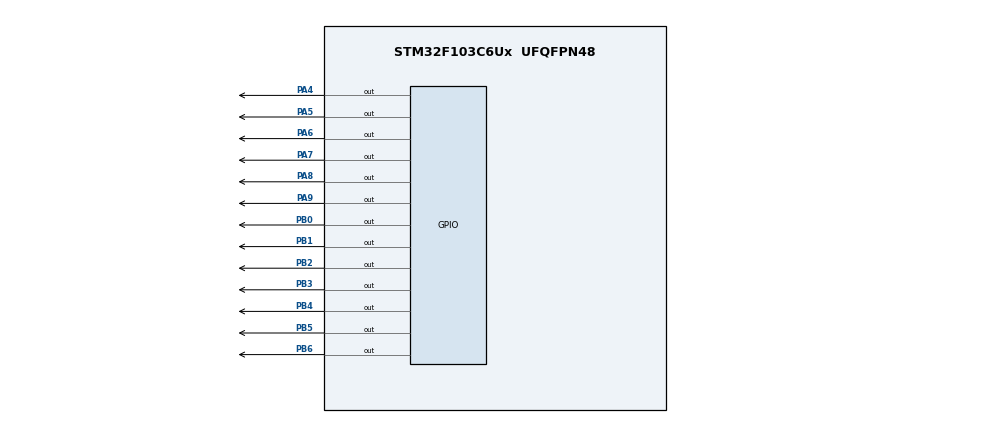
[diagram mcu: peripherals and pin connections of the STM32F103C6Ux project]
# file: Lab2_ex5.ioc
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Mcu.Family=STM32F1
Mcu.Name=STM32F103C6Ux
Mcu.Package=UFQFPN48
NVIC.PriorityGroup=NVIC_PRIORITYGROUP_4
NVIC.TIM2_IRQn=true\:0\:0\:false\:false\:true\:true\:true
PA4.Signal=GPIO_Output
PA5.Signal=GPIO_Output
PA6.Signal=GPIO_Output
PA7.Signal=GPIO_Output
PA8.Signal=GPIO_Output
PA9.Signal=GPIO_Output
PB0.Signal=GPIO_Output
PB1.Signal=GPIO_Output
PB2.Signal=GPIO_Output
PB3.Signal=GPIO_Output
PB4.Signal=GPIO_Output
PB5.Signal=GPIO_Output
PB6.Signal=GPIO_Output
ProjectManager.HeapSize=0x200
ProjectManager.StackSize=0x400
ProjectManager.TargetToolchain=STM32CubeIDE
RCC.APB1Freq_Value=8000000
RCC.APB2Freq_Value=8000000
TIM2.Period=249
TIM2.Prescaler=7999
VP_SYS_VS_ND.Mode=No_Debug
VP_TIM2_VS_ClockSourceINT.Mode=Internal
board=custom

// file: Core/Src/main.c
/* USER CODE BEGIN Header */
/**
  ******************************************************************************
  * @file           : main.c
  * @brief          : Main program body
  ******************************************************************************
  * @attention
  *
  * <h2><center>&copy; Copyright (c) 2025 STMicroelectronics.
  * All rights reserved.</center></h2>
  *
  * This software component is licensed by ST under BSD 3-Clause license,
  * the "License"; You may not use this file except in compliance with the
  * License. You may obtain a copy of the License at:
  *                        opensource.org/licenses/BSD-3-Clause
  *
  ******************************************************************************
  */
/* USER CODE END Header */
#include "main.h"

TIM_HandleTypeDef htim2;

void SystemClock_Config(void);
static void MX_GPIO_Init(void);
static void MX_TIM2_Init(void);

/* USER CODE BEGIN 0 */
void display7SEG(uint8_t num){
	if (num > 9) return;
	switch (num)
	{
	case 0:
		HAL_GPIO_WritePin(GPIOB, GPIO_PIN_0, GPIO_PIN_RESET);
		HAL_GPIO_WritePin(GPIOB, GPIO_PIN_1, GPIO_PIN_RESET);
		HAL_GPIO_WritePin(GPIOB, GPIO_PIN_2, GPIO_PIN_RESET);
		HAL_GPIO_WritePin(GPIOB, GPIO_PIN_3, GPIO_PIN_RESET);
		HAL_GPIO_WritePin(GPIOB, GPIO_PIN_4, GPIO_PIN_RESET);
		HAL_GPIO_WritePin(GPIOB, GPIO_PIN_5, GPIO_PIN_RESET);
		HAL_GPIO_WritePin(GPIOB, GPIO_PIN_6, GPIO_PIN_SET);
		break;
	case 1:
		HAL_GPIO_WritePin(GPIOB, GPIO_PIN_0, GPIO_PIN_SET);
		HAL_GPIO_WritePin(GPIOB, GPIO_PIN_1, GPIO_PIN_RESET);
		HAL_GPIO_WritePin(GPIOB, GPIO_PIN_2, GPIO_PIN_RESET);
		HAL_GPIO_WritePin(GPIOB, GPIO_PIN_3, GPIO_PIN_SET);
		HAL_GPIO_WritePin(GPIOB, GPIO_PIN_4, GPIO_PIN_SET);
		HAL_GPIO_WritePin(GPIOB, GPIO_PIN_5, GPIO_PIN_SET);
		HAL_GPIO_WritePin(GPIOB, GPIO_PIN_6, GPIO_PIN_SET);
		break;
	case 2:
		HAL_GPIO_WritePin(GPIOB, GPIO_PIN_0, GPIO_PIN_RESET);
		HAL_GPIO_WritePin(GPIOB, GPIO_PIN_1, GPIO_PIN_RESET);
		HAL_GPIO_WritePin(GPIOB, GPIO_PIN_2, GPIO_PIN_SET);
		HAL_GPIO_WritePin(GPIOB, GPIO_PIN_3, GPIO_PIN_RESET);
		HAL_GPIO_WritePin(GPIOB, GPIO_PIN_4, GPIO_PIN_RESET);
		HAL_GPIO_WritePin(GPIOB, GPIO_PIN_5, GPIO_PIN_SET);
		HAL_GPIO_WritePin(GPIOB, GPIO_PIN_6, GPIO_PIN_RESET);
		break;
	case 3:
		HAL_GPIO_WritePin(GPIOB, GPIO_PIN_0, GPIO_PIN_RESET);
		HAL_GPIO_WritePin(GPIOB, GPIO_PIN_1, GPIO_PIN_RESET);
		HAL_GPIO_WritePin(GPIOB, GPIO_PIN_2, GPIO_PIN_RESET);
		HAL_GPIO_WritePin(GPIOB, GPIO_PIN_3, GPIO_PIN_RESET);
		HAL_GPIO_WritePin(GPIOB, GPIO_PIN_4, GPIO_PIN_SET);
		HAL_GPIO_WritePin(GPIOB, GPIO_PIN_5, GPIO_PIN_SET);
		HAL_GPIO_WritePin(GPIOB, GPIO_PIN_6, GPIO_PIN_RESET);
		break;
	case 4:
        HAL_GPIO_WritePin(GPIOB, GPIO_PIN_0, GPIO_PIN_SET);
        HAL_GPIO_WritePin(GPIOB, GPIO_PIN_1, GPIO_PIN_RESET);
        HAL_GPIO_WritePin(GPIOB, GPIO_PIN_2, GPIO_PIN_RESET);
        HAL_GPIO_WritePin(GPIOB, GPIO_PIN_3, GPIO_PIN_SET);
        HAL_GPIO_WritePin(GPIOB, GPIO_PIN_4, GPIO_PIN_SET);
        HAL_GPIO_WritePin(GPIOB, GPIO_PIN_5, GPIO_PIN_RESET);
        HAL_GPIO_WritePin(GPIOB, GPIO_PIN_6, GPIO_PIN_RESET);
        break;
	case 5:
		HAL_GPIO_WritePin(GPIOB, GPIO_PIN_0, GPIO_PIN_RESET);
		HAL_GPIO_WritePin(GPIOB, GPIO_PIN_1, GPIO_PIN_SET);
		HAL_GPIO_WritePin(GPIOB, GPIO_PIN_2, GPIO_PIN_RESET);
		HAL_GPIO_WritePin(GPIOB, GPIO_PIN_3, GPIO_PIN_RESET);
		HAL_GPIO_WritePin(GPIOB, GPIO_PIN_4, GPIO_PIN_SET);
		HAL_GPIO_WritePin(GPIOB, GPIO_PIN_5, GPIO_PIN_RESET);
		HAL_GPIO_WritePin(GPIOB, GPIO_PIN_6, GPIO_PIN_RESET);
		break;
	case 6:
		HAL_GPIO_WritePin(GPIOB, GPIO_PIN_0, GPIO_PIN_RESET);
		HAL_GPIO_WritePin(GPIOB, GPIO_PIN_1, GPIO_PIN_SET);
		HAL_GPIO_WritePin(GPIOB, GPIO_PIN_2, GPIO_PIN_RESET);
		HAL_GPIO_WritePin(GPIOB, GPIO_PIN_3, GPIO_PIN_RESET);
		HAL_GPIO_WritePin(GPIOB, GPIO_PIN_4, GPIO_PIN_RESET);
		HAL_GPIO_WritePin(GPIOB, GPIO_PIN_5, GPIO_PIN_RESET);
		HAL_GPIO_WritePin(GPIOB, GPIO_PIN_6, GPIO_PIN_RESET);
		break;
	case 7:
		HAL_GPIO_WritePin(GPIOB, GPIO_PIN_0, GPIO_PIN_RESET);
		HAL_GPIO_WritePin(GPIOB, GPIO_PIN_1, GPIO_PIN_RESET);
		HAL_GPIO_WritePin(GPIOB, GPIO_PIN_2, GPIO_PIN_RESET);
		HAL_GPIO_WritePin(GPIOB, GPIO_PIN_3, GPIO_PIN_SET);
		HAL_GPIO_WritePin(GPIOB, GPIO_PIN_4, GPIO_PIN_SET);
		HAL_GPIO_WritePin(GPIOB, GPIO_PIN_5, GPIO_PIN_SET);
		HAL_GPIO_WritePin(GPIOB, GPIO_PIN_6, GPIO_PIN_SET);
		break;
	case 8:
		HAL_GPIO_WritePin(GPIOB, GPIO_PIN_0, GPIO_PIN_RESET);
		HAL_GPIO_WritePin(GPIOB, GPIO_PIN_1, GPIO_PIN_RESET);
		HAL_GPIO_WritePin(GPIOB, GPIO_PIN_2, GPIO_PIN_RESET);
		HAL_GPIO_WritePin(GPIOB, GPIO_PIN_3, GPIO_PIN_RESET);
		HAL_GPIO_WritePin(GPIOB, GPIO_PIN_4, GPIO_PIN_RESET);
		HAL_GPIO_WritePin(GPIOB, GPIO_PIN_5, GPIO_PIN_RESET);
		HAL_GPIO_WritePin(GPIOB, GPIO_PIN_6, GPIO_PIN_RESET);
		break;
	case 9:
		HAL_GPIO_WritePin(GPIOB, GPIO_PIN_0, GPIO_PIN_RESET);
		HAL_GPIO_WritePin(GPIOB, GPIO_PIN_1, GPIO_PIN_RESET);
		HAL_GPIO_WritePin(GPIOB, GPIO_PIN_2, GPIO_PIN_RESET);
		HAL_GPIO_WritePin(GPIOB, GPIO_PIN_3, GPIO_PIN_RESET);
		HAL_GPIO_WritePin(GPIOB, GPIO_PIN_4, GPIO_PIN_SET);
		HAL_GPIO_WritePin(GPIOB, GPIO_PIN_5, GPIO_PIN_RESET);
		HAL_GPIO_WritePin(GPIOB, GPIO_PIN_6, GPIO_PIN_RESET);
		break;
	default:
		HAL_GPIO_WritePin(GPIOB, GPIO_PIN_0, GPIO_PIN_SET);
		HAL_GPIO_WritePin(GPIOB, GPIO_PIN_1, GPIO_PIN_SET);
		HAL_GPIO_WritePin(GPIOB, GPIO_PIN_2, GPIO_PIN_SET);
		HAL_GPIO_WritePin(GPIOB, GPIO_PIN_3, GPIO_PIN_SET);
		HAL_GPIO_WritePin(GPIOB, GPIO_PIN_4, GPIO_PIN_SET);
		HAL_GPIO_WritePin(GPIOB, GPIO_PIN_5, GPIO_PIN_SET);
		HAL_GPIO_WritePin(GPIOB, GPIO_PIN_6, GPIO_PIN_SET);
		break;
	}
}

const int MAX_LED = 4;
int index_led = 0;
int led_buffer[4];
uint8_t dot_counter = 0;
uint8_t led_counter = 0;

void update7SEG(int index) {
	HAL_GPIO_WritePin(GPIOA, GPIO_PIN_6|GPIO_PIN_7|GPIO_PIN_8|GPIO_PIN_9, GPIO_PIN_SET);

	display7SEG(led_buffer[index]);

	switch(index){
		case 0: HAL_GPIO_WritePin(GPIOA, GPIO_PIN_6, GPIO_PIN_RESET); break;
		case 1: HAL_GPIO_WritePin(GPIOA, GPIO_PIN_7, GPIO_PIN_RESET); break;
		case 2: HAL_GPIO_WritePin(GPIOA, GPIO_PIN_8, GPIO_PIN_RESET); break;
		case 3: HAL_GPIO_WritePin(GPIOA, GPIO_PIN_9, GPIO_PIN_RESET); break;

	}
}

void HAL_TIM_PeriodElapsedCallback(TIM_HandleTypeDef *htim) {
	if (htim->Instance == TIM2) {
		led_counter++;
		if (led_counter >= 2) {
			led_counter = 0;
			HAL_GPIO_TogglePin(GPIOA, GPIO_PIN_5);
		}
		update7SEG(index_led);
		index_led++;
		if (index_led >= MAX_LED) index_led = 0;
		dot_counter++;
		if (dot_counter >= 4) {
			dot_counter = 0;
			HAL_GPIO_TogglePin(GPIOA, GPIO_PIN_4);
		}
	}
}

void updateClockBuffer(int hour, int minute)
{
    led_buffer[0] = (hour / 10) % 10;
    led_buffer[1] = hour % 10;
    led_buffer[2] = (minute / 10) % 10;
    led_buffer[3] = minute % 10;
}
/* USER CODE END 0 */

int main(void)
{

  /* MCU Configuration--------------------------------------------------------*/

  /* Reset of all peripherals, Initializes the Flash interface and the Systick. */
  HAL_Init();

  /* Configure the system clock */
  SystemClock_Config();

  /* Initialize all configured peripherals */
  MX_GPIO_Init();
  MX_TIM2_Init();
  /* USER CODE BEGIN 2 */
  HAL_TIM_Base_Start_IT(&htim2);
  int hour = 20 , minute = 54 , second = 58;
  /* USER CODE END 2 */

  /* Infinite loop */
  /* USER CODE BEGIN WHILE */
  while (1)
  {
	  second++;
	  if (second >= 60) {
	  second = 0;
	  minute++;
	  }
	  if (minute >= 60){
	  minute = 0;
	  hour++;
	  }
	  if(hour >=24) {
	  hour = 0;
	  }
	  updateClockBuffer(hour,minute);

	  HAL_Delay(1000);
    /* USER CODE END WHILE */

  }
}

void SystemClock_Config(void)
{
  RCC_OscInitTypeDef RCC_OscInitStruct = {0};
  RCC_ClkInitTypeDef RCC_ClkInitStruct = {0};

  /** Initializes the RCC Oscillators according to the specified parameters
  * in the RCC_OscInitTypeDef structure.
  */
  RCC_OscInitStruct.OscillatorType = RCC_OSCILLATORTYPE_HSI;
  RCC_OscInitStruct.HSIState = RCC_HSI_ON;
  RCC_OscInitStruct.HSICalibrationValue = RCC_HSICALIBRATION_DEFAULT;
  RCC_OscInitStruct.PLL.PLLState = RCC_PLL_NONE;
  if (HAL_RCC_OscConfig(&RCC_OscInitStruct) != HAL_OK)
  {
    Error_Handler();
  }
  /** Initializes the CPU, AHB and APB buses clocks
  */
  RCC_ClkInitStruct.ClockType = RCC_CLOCKTYPE_HCLK|RCC_CLOCKTYPE_SYSCLK
                              |RCC_CLOCKTYPE_PCLK1|RCC_CLOCKTYPE_PCLK2;
  RCC_ClkInitStruct.SYSCLKSource = RCC_SYSCLKSOURCE_HSI;
  RCC_ClkInitStruct.AHBCLKDivider = RCC_SYSCLK_DIV1;
  RCC_ClkInitStruct.APB1CLKDivider = RCC_HCLK_DIV1;
  RCC_ClkInitStruct.APB2CLKDivider = RCC_HCLK_DIV1;

  if (HAL_RCC_ClockConfig(&RCC_ClkInitStruct, FLASH_LATENCY_0) != HAL_OK)
  {
    Error_Handler();
  }
}

static void MX_TIM2_Init(void)
{

  TIM_ClockConfigTypeDef sClockSourceConfig = {0};
  TIM_MasterConfigTypeDef sMasterConfig = {0};

  htim2.Instance = TIM2;
  htim2.Init.Prescaler = 7999;
  htim2.Init.CounterMode = TIM_COUNTERMODE_UP;
  htim2.Init.Period = 249;
  htim2.Init.ClockDivision = TIM_CLOCKDIVISION_DIV1;
  htim2.Init.AutoReloadPreload = TIM_AUTORELOAD_PRELOAD_DISABLE;
  if (HAL_TIM_Base_Init(&htim2) != HAL_OK)
  {
    Error_Handler();
  }
  sClockSourceConfig.ClockSource = TIM_CLOCKSOURCE_INTERNAL;
  if (HAL_TIM_ConfigClockSource(&htim2, &sClockSourceConfig) != HAL_OK)
  {
    Error_Handler();
  }
  sMasterConfig.MasterOutputTrigger = TIM_TRGO_RESET;
  sMasterConfig.MasterSlaveMode = TIM_MASTERSLAVEMODE_DISABLE;
  if (HAL_TIMEx_MasterConfigSynchronization(&htim2, &sMasterConfig) != HAL_OK)
  {
    Error_Handler();
  }

}

static void MX_GPIO_Init(void)
{
  GPIO_InitTypeDef GPIO_InitStruct = {0};

  /* GPIO Ports Clock Enable */
  __HAL_RCC_GPIOA_CLK_ENABLE();
  __HAL_RCC_GPIOB_CLK_ENABLE();

  /*Configure GPIO pin Output Level */
  HAL_GPIO_WritePin(GPIOA, GPIO_PIN_4|GPIO_PIN_5|GPIO_PIN_6|GPIO_PIN_7
                          |GPIO_PIN_8|GPIO_PIN_9, GPIO_PIN_RESET);

  /*Configure GPIO pin Output Level */
  HAL_GPIO_WritePin(GPIOB, GPIO_PIN_0|GPIO_PIN_1|GPIO_PIN_2|GPIO_PIN_3
                          |GPIO_PIN_4|GPIO_PIN_5|GPIO_PIN_6, GPIO_PIN_RESET);

  /*Configure GPIO pins : PA4 PA5 PA6 PA7
                           PA8 PA9 */
  GPIO_InitStruct.Pin = GPIO_PIN_4|GPIO_PIN_5|GPIO_PIN_6|GPIO_PIN_7
                          |GPIO_PIN_8|GPIO_PIN_9;
  GPIO_InitStruct.Mode = GPIO_MODE_OUTPUT_PP;
  GPIO_InitStruct.Pull = GPIO_NOPULL;
  GPIO_InitStruct.Speed = GPIO_SPEED_FREQ_LOW;
  HAL_GPIO_Init(GPIOA, &GPIO_InitStruct);

  /*Configure GPIO pins : PB0 PB1 PB2 PB3
                           PB4 PB5 PB6 */
  GPIO_InitStruct.Pin = GPIO_PIN_0|GPIO_PIN_1|GPIO_PIN_2|GPIO_PIN_3
                          |GPIO_PIN_4|GPIO_PIN_5|GPIO_PIN_6;
  GPIO_InitStruct.Mode = GPIO_MODE_OUTPUT_PP;
  GPIO_InitStruct.Pull = GPIO_NOPULL;
  GPIO_InitStruct.Speed = GPIO_SPEED_FREQ_LOW;
  HAL_GPIO_Init(GPIOB, &GPIO_InitStruct);

}

void Error_Handler(void)
{
  __disable_irq();
  while (1)
  {
  }
}

/************************ (C) COPYRIGHT STMicroelectronics *****END OF FILE****/
